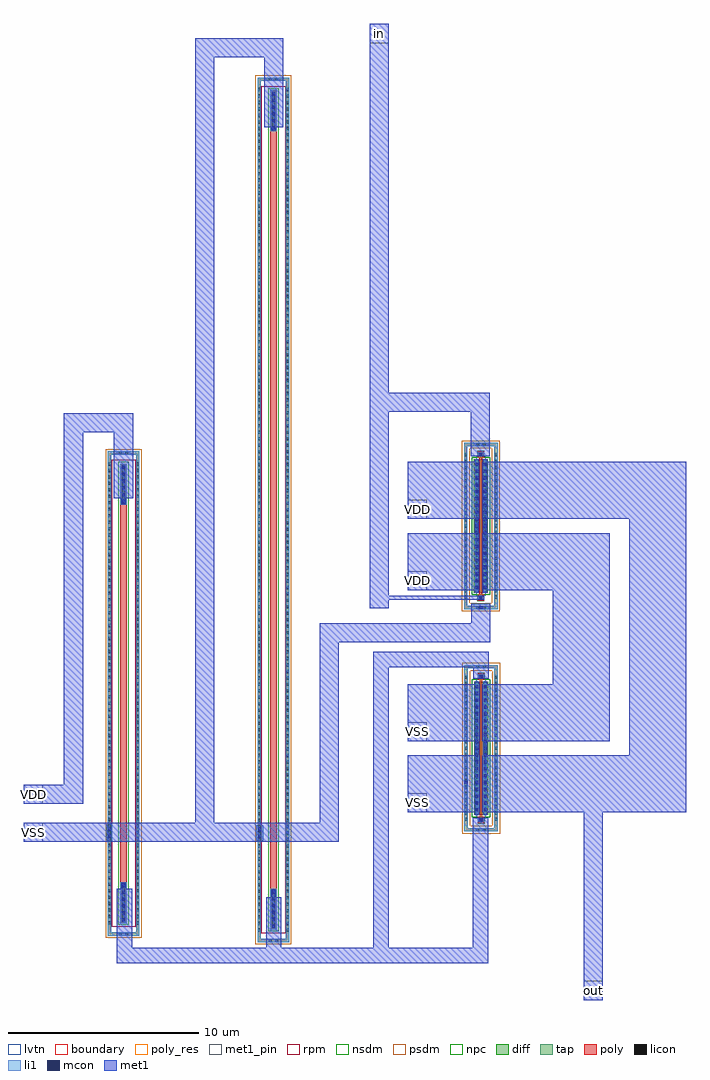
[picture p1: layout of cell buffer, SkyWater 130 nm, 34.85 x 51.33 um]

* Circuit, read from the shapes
.subckt buffer VDD VSS in out
XM1 out in VDD VSS sky130_fd_pr__nfet_01v8_lvt w=7 l=0.15
XM2 out n1 VSS VSS sky130_fd_pr__nfet_01v8_lvt w=7 l=0.15
XR3 VDD n1 VSS sky130_fd_pr__res_high_po w=0.35 l=19.88
XR4 VSS n1 VSS sky130_fd_pr__res_high_po w=0.35 l=39.88
.ends

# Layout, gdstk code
import gdstk
lib = gdstk.Library(unit=1e-6, precision=1e-09)
def R(c, l, rs):  # rectangles x0, y0, x1, y1
    for r in rs: c.add(gdstk.rectangle(r[:2], r[2:], *l))
def A(c, l, x, y, w, h, nx, ny, dx, dy):  # array of equal rectangles
    R(c, l, [(x+i*dx, y+j*dy, x+i*dx+w, y+j*dy+h) for i in range(nx) for j in range(ny)])
diff = (65, 20)
tap = (65, 44)
poly_res = (66, 13)
poly = (66, 20)
licon = (66, 44)
li1 = (67, 20)
mcon = (67, 44)
met1_pin = (68, 16)
met1 = (68, 20)
rpm = (86, 20)
nsdm = (93, 44)
psdm = (94, 20)
npc = (95, 20)
lvtn = (125, 44)
boundary = (235, 4)

sky130_fd_pr__res_high_p = lib.new_cell('sky130_fd_pr__res_high_po_0p35_QPS5FG')
R(sky130_fd_pr__res_high_p, tap, [(-0.825,-12.73,0.825,-12.56), (-0.825,-12.56,-0.655,12.56), (0.655,-12.56,0.825,12.56), (-0.825,12.56,0.825,12.73)])
R(sky130_fd_pr__res_high_p, poly_res, [(-0.175,-10,0.175,10)])
R(sky130_fd_pr__res_high_p, poly, [(-0.175,-12.08,0.175,12.08)])
A(sky130_fd_pr__res_high_p, licon, -0.825, -12.155, 0.17, 0.17, 1, 72, 0, 0.34)
A(sky130_fd_pr__res_high_p, licon, 0.655, -12.155, 0.17, 0.17, 1, 72, 0, 0.34)
R(sky130_fd_pr__res_high_p, licon, [(-0.255,-12.73,-0.085,-12.56), (0.085,-12.73,0.255,-12.56), (-0.095,-12,0.095,-10), (-0.095,10,0.095,12), (-0.255,12.56,-0.085,12.73), (0.085,12.56,0.255,12.73)])
R(sky130_fd_pr__res_high_p, li1, [(-0.825,-12.73,0.825,-12.56), (-0.825,-12.56,-0.655,12.56), (0.655,-12.56,0.825,12.56), (-0.175,-12.08,0.175,-9.92), (-0.175,9.92,0.175,12.08), (-0.825,12.56,0.825,12.73)])
A(sky130_fd_pr__res_high_p, mcon, -0.085, -11.985, 0.17, 0.17, 1, 6, 0, 0.36)
A(sky130_fd_pr__res_high_p, mcon, -0.085, 10.01, 0.17, 0.17, 1, 6, 0, 0.36)
R(sky130_fd_pr__res_high_p, met1, [(-0.125,-12.05,0.125,-9.945), (-0.125,9.945,0.125,12.05)])
R(sky130_fd_pr__res_high_p, rpm, [(-0.635,-12.28,0.635,12.28)])
R(sky130_fd_pr__res_high_p, psdm, [(-0.95,-12.855,0.95,12.855)])
R(sky130_fd_pr__res_high_p, npc, [(-0.27,-12.175,0.27,12.175)])
R(sky130_fd_pr__res_high_p, boundary, [(-0.74,-12.645,0.74,12.645)])

c_sky130_fd_pr__res_high_p = lib.new_cell('sky130_fd_pr__res_high_po_0p35_3KK54B')
R(c_sky130_fd_pr__res_high_p, tap, [(-0.825,-22.73,0.825,-22.56), (-0.825,-22.56,-0.655,22.56), (0.655,-22.56,0.825,22.56), (-0.825,22.56,0.825,22.73)])
R(c_sky130_fd_pr__res_high_p, poly_res, [(-0.175,-20,0.175,20)])
R(c_sky130_fd_pr__res_high_p, poly, [(-0.175,-22.08,0.175,22.08)])
A(c_sky130_fd_pr__res_high_p, licon, -0.825, -22.185, 0.17, 0.17, 1, 131, 0, 0.34)
A(c_sky130_fd_pr__res_high_p, licon, 0.655, -22.185, 0.17, 0.17, 1, 131, 0, 0.34)
R(c_sky130_fd_pr__res_high_p, licon, [(-0.255,-22.73,-0.085,-22.56), (0.085,-22.73,0.255,-22.56), (-0.095,-22,0.095,-20), (-0.095,20,0.095,22), (-0.255,22.56,-0.085,22.73), (0.085,22.56,0.255,22.73)])
R(c_sky130_fd_pr__res_high_p, li1, [(-0.825,-22.73,0.825,-22.56), (-0.825,-22.56,-0.655,22.56), (0.655,-22.56,0.825,22.56), (-0.175,-22.08,0.175,-19.92), (-0.175,19.92,0.175,22.08), (-0.825,22.56,0.825,22.73)])
A(c_sky130_fd_pr__res_high_p, mcon, -0.085, -21.985, 0.17, 0.17, 1, 6, 0, 0.36)
A(c_sky130_fd_pr__res_high_p, mcon, -0.085, 20.01, 0.17, 0.17, 1, 6, 0, 0.36)
R(c_sky130_fd_pr__res_high_p, met1, [(-0.125,-22.05,0.125,-19.945), (-0.125,19.945,0.125,22.05)])
R(c_sky130_fd_pr__res_high_p, rpm, [(-0.635,-22.28,0.635,22.28)])
R(c_sky130_fd_pr__res_high_p, psdm, [(-0.95,-22.855,0.95,22.855)])
R(c_sky130_fd_pr__res_high_p, npc, [(-0.27,-22.175,0.27,22.175)])
R(c_sky130_fd_pr__res_high_p, boundary, [(-0.74,-22.645,0.74,22.645)])

sky130_fd_pr__nfet_01v8_ = lib.new_cell('sky130_fd_pr__nfet_01v8_lvt_KBNS5F')
R(sky130_fd_pr__nfet_01v8_, diff, [(-0.365,-3.5,0.365,3.5)])
R(sky130_fd_pr__nfet_01v8_, tap, [(-0.875,-4.37,0.875,-4.2), (-0.875,-4.2,-0.705,4.2), (0.705,-4.2,0.875,4.2), (-0.875,4.2,0.875,4.37)])
R(sky130_fd_pr__nfet_01v8_, poly, [(-0.165,-3.94,0.165,-3.61), (-0.075,-3.61,0.075,3.61), (-0.165,3.61,0.165,3.94)])
A(sky130_fd_pr__nfet_01v8_, licon, -0.875, -3.825, 0.17, 0.17, 1, 23, 0, 0.34)
A(sky130_fd_pr__nfet_01v8_, licon, 0.705, -3.825, 0.17, 0.17, 1, 23, 0, 0.34)
A(sky130_fd_pr__nfet_01v8_, licon, -0.305, -3.315, 0.17, 0.17, 1, 20, 0, 0.34)
A(sky130_fd_pr__nfet_01v8_, licon, 0.135, -3.315, 0.17, 0.17, 1, 20, 0, 0.34)
R(sky130_fd_pr__nfet_01v8_, licon, [(-0.255,-4.37,-0.085,-4.2), (0.085,-4.37,0.255,-4.2), (-0.085,-3.86,0.085,-3.69), (-0.085,3.69,0.085,3.86), (-0.255,4.2,-0.085,4.37), (0.085,4.2,0.255,4.37)])
R(sky130_fd_pr__nfet_01v8_, li1, [(-0.875,-4.37,0.875,-4.2), (-0.875,-4.2,-0.705,4.2), (0.705,-4.2,0.875,4.2), (-0.165,-3.86,0.165,-3.69), (-0.305,-3.52,-0.135,3.52), (0.135,-3.52,0.305,3.52), (-0.165,3.69,0.165,3.86), (-0.875,4.2,0.875,4.37)])
A(sky130_fd_pr__nfet_01v8_, mcon, -0.305, -3.325, 0.17, 0.17, 1, 19, 0, 0.36)
A(sky130_fd_pr__nfet_01v8_, mcon, 0.135, -3.325, 0.17, 0.17, 1, 19, 0, 0.36)
R(sky130_fd_pr__nfet_01v8_, mcon, [(-0.085,-3.86,0.085,-3.69), (-0.085,3.69,0.085,3.86)])
R(sky130_fd_pr__nfet_01v8_, met1, [(-0.145,-3.89,0.145,-3.66), (-0.335,-3.5,-0.105,3.5), (0.105,-3.5,0.335,3.5), (-0.145,3.66,0.145,3.89)])
R(sky130_fd_pr__nfet_01v8_, nsdm, [(-0.49,-3.625,0.49,3.625)])
R(sky130_fd_pr__nfet_01v8_, psdm, [(-1,-4.495,1,-4.075), (-1,-4.075,-0.58,4.075), (0.58,-4.075,1,4.075), (-1,4.075,1,4.495)])
R(sky130_fd_pr__nfet_01v8_, npc, [(-0.185,-3.96,0.185,-3.59), (-0.185,3.59,0.185,3.96)])
R(sky130_fd_pr__nfet_01v8_, lvtn, [(-0.255,-3.68,0.255,3.68)])
R(sky130_fd_pr__nfet_01v8_, boundary, [(-0.79,-4.285,0.79,4.285)])

buffer = lib.new_cell('buffer')
R(buffer, li1, [(12.3,-1.96,12.67,-1.13), (4.45,-1.95,4.74,-1.1), (23.25,0.94,23.42,1.31), (23.87,10.23,24.37,10.4)])
R(buffer, mcon, [(12.4,-1.81,12.57,-1.64), (4.51,-1.79,4.68,-1.62), (12.4,-1.45,12.57,-1.28), (4.51,-1.43,4.68,-1.26), (23.25,1.04,23.42,1.21), (24.035,10.23,24.205,10.4)])
R(buffer, met1_pin, [(29.52,-10.33,30.52,-9.33), (0.08,-2,1.08,-1), (20.27,-0.46,21.27,0.54), (0.07,0,1.07,1), (20.27,3.28,21.27,4.28), (20.26,11.23,21.26,12.23), (20.26,14.97,21.26,15.97), (18.27,40,19.27,41)])
R(buffer, met1, [(29.52,-10.33,30.52,-0.46), (4.96,-8.395,24.505,-7.585), (4.96,-7.585,5.77,-4.47), (12.815,-7.585,13.625,-4.915), (18.455,-7.585,19.265,7.165), (23.695,-7.585,24.505,-0.745), (0.08,-2,16.65,-1), (9.09,-1,10.09,39.25), (15.65,-1,16.65,8.49), (20.27,-0.46,24.05,2.54), (24.2,-0.46,34.92,2.54), (0.07,0,3.19,1), (2.19,1,3.19,19.54), (31.92,2.54,34.92,14.97), (20.27,3.28,24.05,6.28), (24.2,3.28,30.9,6.28), (27.9,6.28,30.9,11.23), (23.715,6.555,24.525,7.165), (18.455,7.165,24.525,7.975), (15.65,8.49,24.62,9.49), (23.62,9.49,24.62,10.52), (18.27,10.27,19.27,10.71), (18.27,10.71,24.28,10.94), (18.27,10.94,19.27,20.6), (20.26,11.23,24.04,14.23), (24.19,11.23,30.9,11.67), (24.19,11.67,30.89,14.23), (20.26,14.97,24.04,17.97), (24.19,14.97,34.92,17.97), (4.82,16.06,5.82,19.54), (23.59,18.26,24.59,20.6), (2.19,19.54,5.82,20.54), (18.27,20.6,24.59,21.6), (18.27,21.6,19.27,41), (12.71,35.56,13.71,39.25), (9.09,39.25,13.71,40.25)])
buffer.add(gdstk.Reference(sky130_fd_pr__res_high_p, (5.325,5.79)))
buffer.add(gdstk.Reference(c_sky130_fd_pr__res_high_p, (13.205,15.45)))
buffer.add(gdstk.Reference(sky130_fd_pr__nfet_01v8_, (24.115,14.6)))
buffer.add(gdstk.Reference(sky130_fd_pr__nfet_01v8_, (24.125,2.91)))
buffer.add(gdstk.Label('VDD', (20.76,15.47), layer=68, texttype=5))
buffer.add(gdstk.Label('VDD', (20.76,11.73), layer=68, texttype=5))
buffer.add(gdstk.Label('VDD', (0.57,0.5), layer=68, texttype=5))
buffer.add(gdstk.Label('VSS', (20.77,3.78), layer=68, texttype=5))
buffer.add(gdstk.Label('VSS', (20.77,0.04), layer=68, texttype=5))
buffer.add(gdstk.Label('VSS', (0.58,-1.5), layer=68, texttype=5))
buffer.add(gdstk.Label('out', (30.02,-9.83), layer=68, texttype=5))
buffer.add(gdstk.Label('in', (18.77,40.5), layer=68, texttype=5))

lib.write_gds('buffer.gds')
